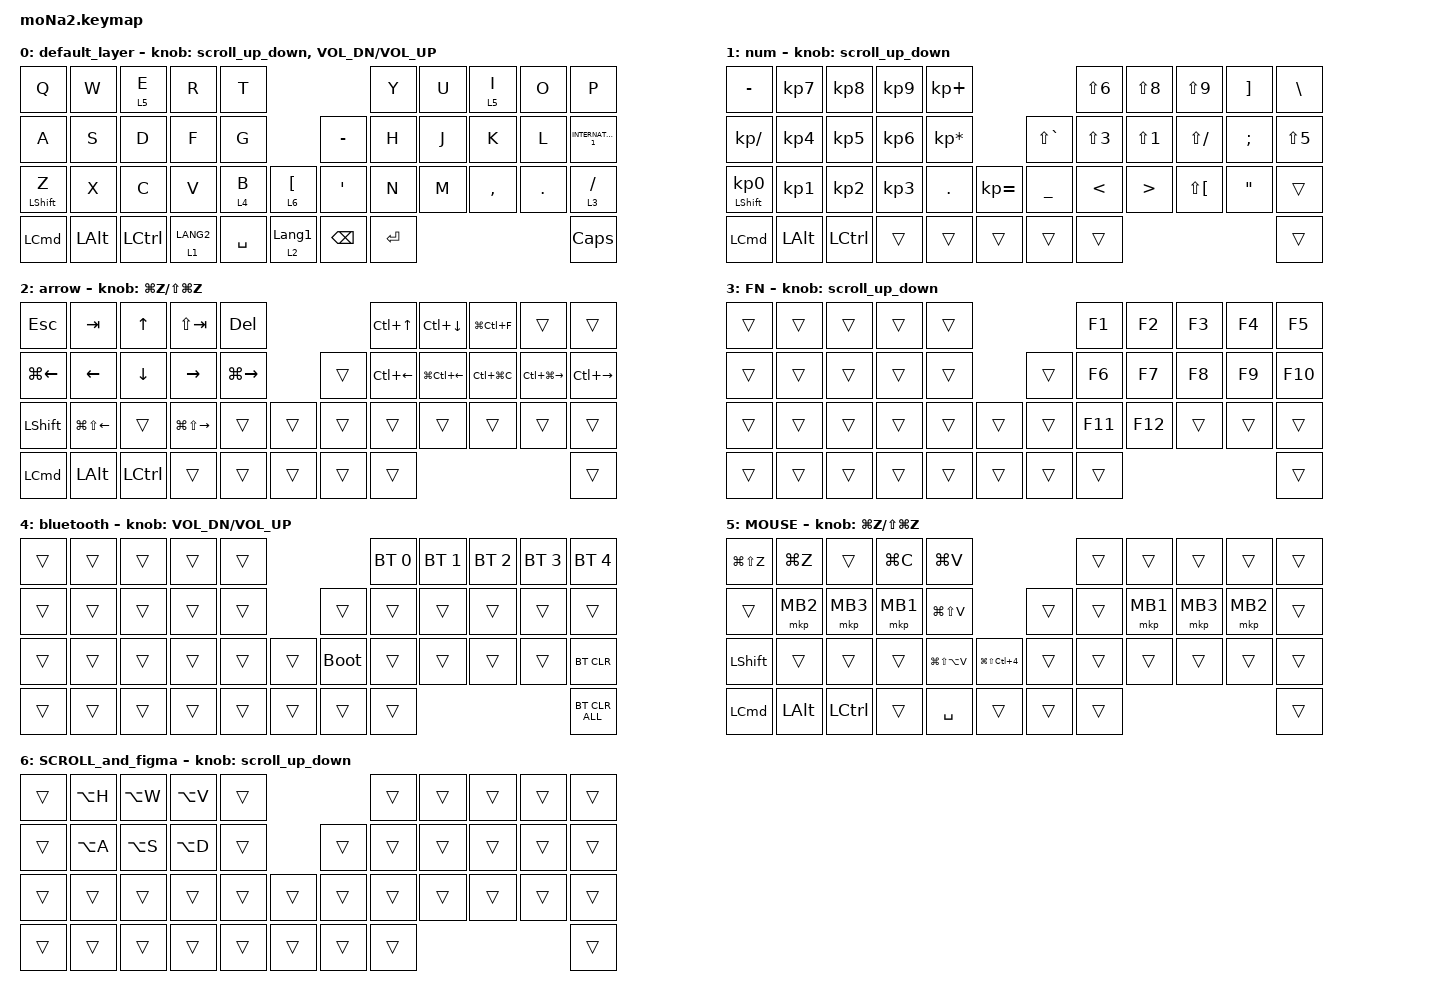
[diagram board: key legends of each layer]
#include <behaviors.dtsi>
#include <dt-bindings/zmk/bt.h>
#include <dt-bindings/zmk/keys.h>
#include <dt-bindings/zmk/pointing.h>

#define ZMK_POINTING_DEFAULT_SCRL_VAL 100
#define MOUSE 5
#define SCROLL 6

&mt {
    flavor = "balanced";
    quick-tap-ms = <0>;
};

/ {
    combos { compatible = "zmk,combos"; };

    macros {
        to_layer_0: to_layer_0 {
            compatible = "zmk,behavior-macro-one-param";
            #binding-cells = <1>;
            bindings = <&to 0 &macro_param_1to1 &kp MACRO_PLACEHOLDER>;
            label = "TO_LAYER_0";
        };
    };

    behaviors {
        lt_to_layer_0: lt_to_layer_0 {
            compatible = "zmk,behavior-hold-tap";
            label = "LAYER_TAP_TO_0";
            bindings = <&mo>, <&to_layer_0>;

            #binding-cells = <2>;
            tapping-term-ms = <200>;
        };

        scroll_up_down: behavior_sensor_rotate_mouse_wheel_up_down {
            compatible = "zmk,behavior-sensor-rotate";
            #sensor-binding-cells = <0>;
            bindings = <&msc SCRL_DOWN>, <&msc SCRL_UP>;

            tap-ms = <20>;
        };
    };

    keymap {
        compatible = "zmk,keymap";

        default_layer {
            bindings = <
&kp Q             &kp W         &lt 5 E           &kp R        &kp T                                         &kp Y      &kp U  &lt 5 I    &kp O    &kp P
&kp A             &kp S         &kp D             &kp F        &kp G                          &kp MINUS      &kp H      &kp J  &kp K      &kp L    &kp INTERNATIONAL_1
&mt LEFT_SHIFT Z  &kp X         &kp C             &kp V        &lt 4 B    &lt 6 LBKT          &kp SQT        &kp N      &kp M  &kp COMMA  &kp DOT  &lt 3 SLASH
&kp LEFT_COMMAND  &kp LEFT_ALT  &kp LEFT_CONTROL  &lt 1 LANG2  &kp SPACE  &lt 2 LANGUAGE_1    &kp BACKSPACE  &kp ENTER                             &kp CAPSLOCK
            >;

            sensor-bindings =
                <&scroll_up_down>,
                <&inc_dec_kp C_VOL_DN C_VOL_UP>;
        };

        num {
            bindings = <
&kp MINUS                   &kp KP_NUMBER_7  &kp KP_NUMBER_8   &kp KP_NUMBER_9  &kp KP_PLUS                                      &kp LS(N6)     &kp LS(N8)        &kp LS(N9)            &kp RIGHT_BRACKET  &kp BACKSLASH
&kp KP_DIVIDE               &kp KP_NUMBER_4  &kp KP_NUMBER_5   &kp KP_NUMBER_6  &kp KP_MULTIPLY                  &kp LS(GRAVE)   &kp LS(N3)     &kp LS(N1)        &kp LS(SLASH)         &kp SEMICOLON      &kp LS(N5)
&mt LEFT_SHIFT KP_NUMBER_0  &kp KP_NUMBER_1  &kp KP_NUMBER_2   &kp KP_NUMBER_3  &kp PERIOD       &kp KP_EQUAL    &kp UNDERSCORE  &kp LESS_THAN  &kp GREATER_THAN  &kp LS(LEFT_BRACKET)  &kp DOUBLE_QUOTES  &trans
&kp LEFT_COMMAND            &kp LEFT_ALT     &kp LEFT_CONTROL  &trans           &trans           &trans          &trans          &trans                                                                    &trans
            >;

            sensor-bindings = <&scroll_up_down>;
        };

        arrow {
            bindings = <
&kp ESCAPE        &kp TAB                 &kp UP_ARROW      &kp LS(TAB)              &kp DEL                          &kp LC(UP_ARROW)  &kp LC(DOWN_ARROW)  &kp LG(LC(F))  &trans             &trans
&kp LG(LEFT)      &kp LEFT_ARROW          &kp DOWN_ARROW    &kp RIGHT_ARROW          &kp LG(RIGHT)            &trans  &kp LC(LEFT)      &kp LG(LC(LEFT))    &kp LC(LG(C))  &kp LC(LG(RIGHT))  &kp LC(RIGHT)
&kp LEFT_SHIFT    &kp LG(LS(LEFT_ARROW))  &trans            &kp LG(LS(RIGHT_ARROW))  &trans         &trans    &trans  &trans            &trans              &trans         &trans             &trans
&kp LEFT_COMMAND  &kp LEFT_ALT            &kp LEFT_CONTROL  &trans                   &trans         &trans    &trans  &trans                                                                  &trans
            >;

            sensor-bindings = <&inc_dec_kp LG(Z) LS(LG(Z))>;
        };

        FN {
            bindings = <
&trans  &trans  &trans  &trans  &trans                    &kp F1   &kp F2   &kp F3  &kp F4  &kp F5
&trans  &trans  &trans  &trans  &trans            &trans  &kp F6   &kp F7   &kp F8  &kp F9  &kp F10
&trans  &trans  &trans  &trans  &trans  &trans    &trans  &kp F11  &kp F12  &trans  &trans  &trans
&trans  &trans  &trans  &trans  &trans  &trans    &trans  &trans                            &trans
            >;

            sensor-bindings = <&scroll_up_down>;
        };

        bluetooth {
            bindings = <
&trans  &trans  &trans  &trans  &trans                         &bt BT_SEL 0  &bt BT_SEL 1  &bt BT_SEL 2  &bt BT_SEL 3  &bt BT_SEL 4
&trans  &trans  &trans  &trans  &trans            &trans       &trans        &trans        &trans        &trans        &trans
&trans  &trans  &trans  &trans  &trans  &trans    &bootloader  &trans        &trans        &trans        &trans        &bt BT_CLR
&trans  &trans  &trans  &trans  &trans  &trans    &trans       &trans                                                  &bt BT_CLR_ALL
            >;

            sensor-bindings = <&inc_dec_kp C_VOL_DN C_VOLUME_UP>;
        };

        MOUSE {
            bindings = <
&kp LG(LS(Z))     &kp LG(Z)     &trans            &kp LG(C)  &kp LG(V)                                              &trans  &trans    &trans    &trans    &trans
&trans            &mkp MB2      &mkp MB3          &mkp MB1   &kp LG(LS(V))                                  &trans  &trans  &mkp MB1  &mkp MB3  &mkp MB2  &trans
&kp LEFT_SHIFT    &trans        &trans            &trans     &kp LG(LS(LA(V)))  &kp LG(LS(LC(NUMBER_4)))    &trans  &trans  &trans    &trans    &trans    &trans
&kp LEFT_COMMAND  &kp LEFT_ALT  &kp LEFT_CONTROL  &trans     &kp SPACE          &trans                      &trans  &trans                                &trans
            >;

            sensor-bindings = <&inc_dec_kp LG(Z) LS(LG(Z))>;
        };

        SCROLL_and_figma {
            bindings = <
&trans  &kp LA(H)  &kp LA(W)  &kp LA(V)  &trans                    &trans  &trans  &trans  &trans  &trans
&trans  &kp LA(A)  &kp LA(S)  &kp LA(D)  &trans            &trans  &trans  &trans  &trans  &trans  &trans
&trans  &trans     &trans     &trans     &trans  &trans    &trans  &trans  &trans  &trans  &trans  &trans
&trans  &trans     &trans     &trans     &trans  &trans    &trans  &trans                          &trans
            >;

            sensor-bindings = <&scroll_up_down>;
        };
    };
};
